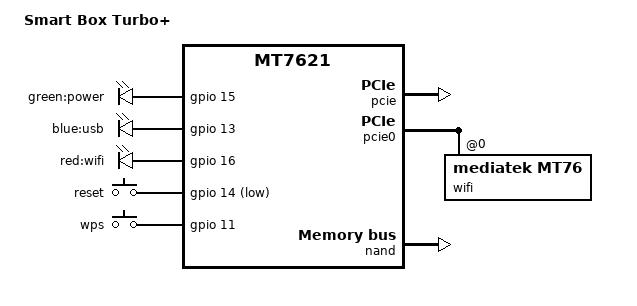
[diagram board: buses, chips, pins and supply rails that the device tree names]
// SPDX-License-Identifier: GPL-2.0

#include "mt7621.dtsi"

#include <dt-bindings/gpio/gpio.h>
#include <dt-bindings/input/input.h>

/ {
	compatible = "beeline,sbtplus6220", "mediatek,mt7621-soc";
	model = "Smart Box Turbo+";
	
	aliases {
		led-boot = &led_power;
		led-failsafe = &led_power;
		led-running = &led_power;
		led-upgrade = &led_power;
		label-mac-device = &gmac0;
	};

	chosen {
		bootargs = "console=ttyS0,57600";
	};

	leds {
		compatible = "gpio-leds";

		led_power: power {
			label = "green:power";
			gpios = <&gpio 15 GPIO_ACTIVE_HIGH>;
		};

		usb {
			label = "blue:usb";
			gpios = <&gpio 13 GPIO_ACTIVE_HIGH>;
			trigger-sources = <&xhci_ehci_port1>, <&ehci_port2>;
			linux,default-trigger = "usbport";
		};

		wifi {
			label = "red:wifi";
			gpios = <&gpio 16 GPIO_ACTIVE_HIGH>;
		};
	};

	keys {
		compatible = "gpio-keys-polled";
		poll-interval = <20>;

		reset {
			label = "reset";
			gpios = <&gpio 14 GPIO_ACTIVE_LOW>;
			linux,code = <KEY_RESTART>;
		};
		wps {
			label = "wps";
			gpios = <&gpio 11 GPIO_ACTIVE_HIGH>;
			linux,code = <KEY_WPS_BUTTON>;
		};
	};
};

&pcie {
	status = "okay";
};

&pcie0 {
	wifi@0,0 {
		compatible = "mediatek,mt76";
		reg = <0x0 0 0 0 0>;
		mediatek,mtd-eeprom = <&factory 0x8000>;
		ieee80211-freq-limit = <5000000 6000000>;
	};
};

&pcie1 {
	wifi@0,0 {
		reg = <0x0 0 0 0 0>;
		mediatek,mtd-eeprom = <&factory 0x0>;
		ieee80211-freq-limit = <2400000 2500000>;
	};
};

&nand {
	status = "okay";

	partitions {
		compatible = "fixed-partitions";
		#address-cells = <1>;
		#size-cells = <1>;

		partition@0 {
			label = "u-boot";
			reg = <0x0 0x100000>;
			read-only;
		};

		partition@100000 {
			label = "SC PART_MAP";
			reg = <0x100000 0x100000>;
			read-only;
		};

		partition@200000 {
			label = "kernel";
			reg = <0x200000 0x400000>;
		};

		partition@600000 {
			label = "ubi";
			reg = <0x600000 0x7800000>;
		};

		factory: partition@7e00000 {
			label = "factory";
			reg = <0x7e00000 0x100000>;
			read-only;
		};

	};
};

&gmac0 {
	mtd-mac-address = <&factory 0x21000>;
};

&switch0 {
	ports {
		port@0 {
			status = "okay";
			label = "wan";
			mtd-mac-address = <&factory 0x21000>;
			mac-address-increment = <2>;
		};

		port@1 {
			status = "okay";
			label = "lan1";
		};

		port@2 {
			status = "okay";
			label = "lan2";
		};

		port@3 {
			status = "okay";
			label = "lan3";
		};

		port@4 {
			status = "okay";
			label = "lan4";
		};

	};
};

&state_default {
	gpio {
		groups = "uart2", "uart3", "wdt";
		function = "gpio";
	};
};
